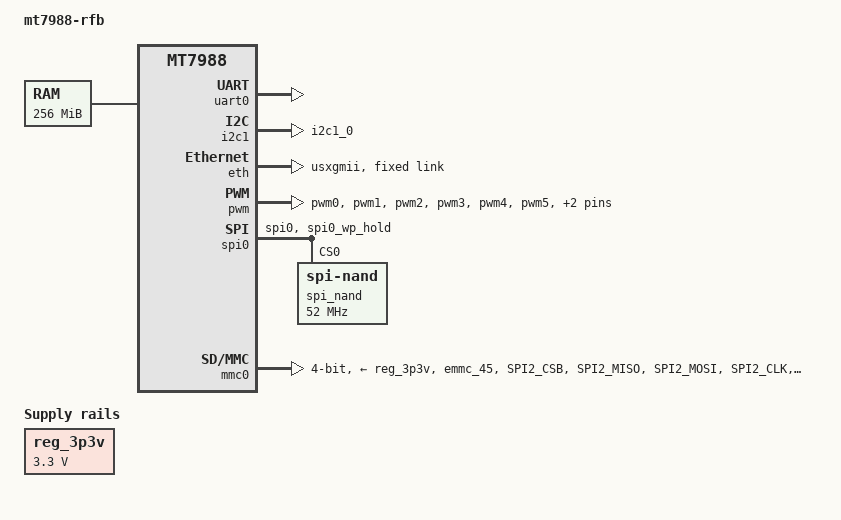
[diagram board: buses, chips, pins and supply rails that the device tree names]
// SPDX-License-Identifier: GPL-2.0
/*
 * Copyright (c) 2022 MediaTek Inc.
 * Author: Sam Shih <sam.shih@mediatek.com>
 */

/dts-v1/;
#include "mt7988.dtsi"
#include <dt-bindings/gpio/gpio.h>

/ {
	model = "mt7988-rfb";
	compatible = "mediatek,mt7988-rfb", "mediatek,mt7988-sd-rfb";

	chosen {
		stdout-path = &uart0;
	};

	memory@40000000 {
		device_type = "memory";
		reg = <0 0x40000000 0 0x10000000>;
	};

	reg_3p3v: regulator-3p3v {
		compatible = "regulator-fixed";
		regulator-name = "fixed-3.3V";
		regulator-min-microvolt = <3300000>;
		regulator-max-microvolt = <3300000>;
		regulator-boot-on;
		regulator-always-on;
	};
};

&uart0 {
	status = "okay";
};

&i2c1 {
	pinctrl-names = "default";
	pinctrl-0 = <&i2c1_pins>;
	status = "okay";
};

&eth {
	status = "okay";
	mediatek,gmac-id = <0>;
	phy-mode = "usxgmii";
	mediatek,switch = "mt7988";

	fixed-link {
		speed = <1000>;
		full-duplex;
		pause;
	};
};

&pinctrl {
	i2c1_pins: i2c1-pins {
		mux {
			function = "i2c";
			groups = "i2c1_0";
		};
	};

	pwm_pins: pwm-pins {
		mux {
			function = "pwm";
			groups = "pwm0", "pwm1", "pwm2", "pwm3", "pwm4",
				 "pwm5", "pwm6", "pwm7";
		};
	};

	spi0_pins: spi0-pins {
		mux {
			function = "spi";
			groups = "spi0", "spi0_wp_hold";
		};
	};

	mmc1_pins_default: mmc1default {
		mux {
			function = "flash";
			groups =  "emmc_45";
		};

		conf-cmd-dat {
			pins = "SPI2_CSB", "SPI2_MISO", "SPI2_MOSI",
			       "SPI2_CLK", "SPI2_HOLD";
			input-enable;
		};

		conf-clk {
			pins = "SPI2_WP";
		};
	};
};

&pwm {
	pinctrl-names = "default";
	pinctrl-0 = <&pwm_pins>;
	status = "okay";
};

&spi0 {
	pinctrl-names = "default";
	pinctrl-0 = <&spi0_pins>;
	#address-cells = <1>;
	#size-cells = <0>;
	status = "okay";
	must_tx;
	enhance_timing;
	dma_ext;
	ipm_design;
	support_quad;
	tick_dly = <2>;
	sample_sel = <0>;

	spi_nand@0 {
		compatible = "spi-nand";
		reg = <0>;
		spi-max-frequency = <52000000>;
	};
};

&mmc0 {
	pinctrl-names = "default";
	pinctrl-0 = <&mmc1_pins_default>;
	max-frequency = <52000000>;
	bus-width = <4>;
	cap-sd-highspeed;
	vmmc-supply = <&reg_3p3v>;
	vqmmc-supply = <&reg_3p3v>;
	status = "okay";
};
